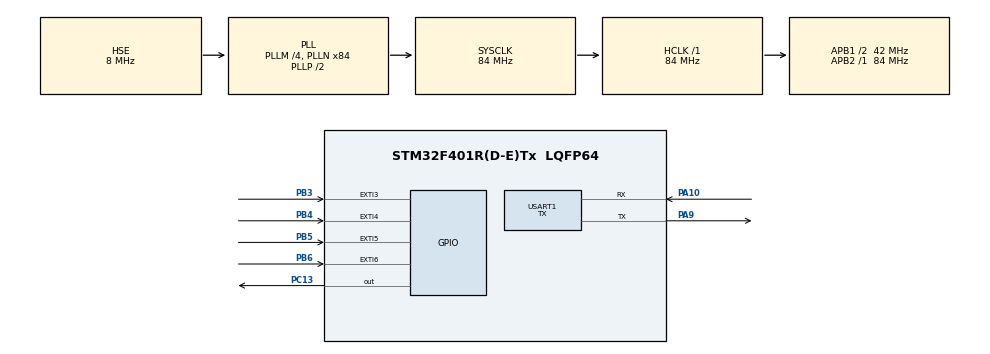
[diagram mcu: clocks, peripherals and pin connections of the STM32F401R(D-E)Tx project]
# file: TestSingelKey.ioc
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Mcu.Family=STM32F4
Mcu.Name=STM32F401R(D-E)Tx
Mcu.Package=LQFP64
NVIC.EXTI3_IRQn=true\:0\:0\:false\:false\:true\:true\:true\:true
NVIC.EXTI4_IRQn=true\:0\:0\:false\:false\:true\:true\:true\:true
NVIC.EXTI9_5_IRQn=true\:0\:0\:false\:false\:true\:true\:true\:true
NVIC.PriorityGroup=NVIC_PRIORITYGROUP_4
NVIC.TIM1_UP_TIM10_IRQn=true\:0\:0\:false\:false\:true\:true\:true\:true
PA10.Mode=Asynchronous
PA10.Signal=USART1_RX
PA9.Mode=Asynchronous
PA9.Signal=USART1_TX
PB3.GPIO_ModeDefaultEXTI=GPIO_MODE_IT_FALLING
PB3.Signal=GPXTI3
PB4.GPIO_ModeDefaultEXTI=GPIO_MODE_IT_FALLING
PB4.Signal=GPXTI4
PB5.GPIO_ModeDefaultEXTI=GPIO_MODE_IT_FALLING
PB5.Signal=GPXTI5
PB6.GPIO_ModeDefaultEXTI=GPIO_MODE_IT_FALLING
PB6.Signal=GPXTI6
PC13-ANTI_TAMP.Signal=GPIO_Output
PH0\ -\ OSC_IN.Mode=HSE-External-Oscillator
PH0\ -\ OSC_IN.Signal=RCC_OSC_IN
PH1\ -\ OSC_OUT.Mode=HSE-External-Oscillator
PH1\ -\ OSC_OUT.Signal=RCC_OSC_OUT
ProjectManager.HeapSize=0x200
ProjectManager.StackSize=0x400
ProjectManager.TargetToolchain=MDK-ARM V5.32
RCC.48MHZClocksFreq_Value=42000000
RCC.AHBFreq_Value=84000000
RCC.APB1CLKDivider=RCC_HCLK_DIV2
RCC.APB1Freq_Value=42000000
RCC.APB1TimFreq_Value=84000000
RCC.APB2Freq_Value=84000000
RCC.APB2TimFreq_Value=84000000
RCC.CortexFreq_Value=84000000
RCC.HCLKFreq_Value=84000000
RCC.HSE_VALUE=8000000
RCC.HSI_VALUE=16000000
RCC.LSE_VALUE=32768
RCC.PLLM=4
RCC.PLLN=84
RCC.PLLSourceVirtual=RCC_PLLSOURCE_HSE
RCC.SYSCLKFreq_VALUE=84000000
RCC.SYSCLKSource=RCC_SYSCLKSOURCE_PLLCLK
RCC.VCOOutputFreq_Value=168000000
TIM10.AutoReloadPreload=TIM_AUTORELOAD_PRELOAD_ENABLE
TIM10.Period=1000 - 1
TIM10.Prescaler=84 - 1
USART1.Mode=MODE_TX
USART1.VirtualMode=VM_ASYNC
VP_TIM10_VS_ClockSourceINT.Mode=Enable_Timer
board=custom

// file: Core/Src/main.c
/* USER CODE BEGIN Header */
/**
  ******************************************************************************
  * @file           : main.c
  * @brief          : Main program body
  ******************************************************************************
  * @attention
  *
  * Copyright (c) 2026 STMicroelectronics.
  * All rights reserved.
  *
  * This software is licensed under terms that can be found in the LICENSE file
  * in the root directory of this software component.
  * If no LICENSE file comes with this software, it is provided AS-IS.
  *
  ******************************************************************************
  */
/* USER CODE END Header */
#include "main.h"
#include "tim.h"
#include "usart.h"
#include "gpio.h"

/* USER CODE BEGIN Includes */
#include "zho_os.h"
#include "zho_delay.h"
#include "zho_s_key.h"
#include "zho_timer_pool.h"

#include "led.h"
#include "debug.h"
#include "user_app.h"
/* USER CODE END Includes */

void SystemClock_Config(void);

int main(void)
{

  /* MCU Configuration--------------------------------------------------------*/

  /* Reset of all peripherals, Initializes the Flash interface and the Systick. */
  HAL_Init();

  /* Configure the system clock */
  SystemClock_Config();

  /* USER CODE BEGIN SysInit */
	init_systick(SYSTICK_PSC_1);
  /* USER CODE END SysInit */

  /* Initialize all configured peripherals */
  MX_GPIO_Init();
  MX_TIM10_Init();
  MX_USART1_UART_Init();
  /* USER CODE BEGIN 2 */
	init_debug(&huart1);
	init_zho_timer_pool(&htim10);
	init_zho_s_key(GPIO_PIN_3 | GPIO_PIN_4 | GPIO_PIN_5 | GPIO_PIN_6,
			get_key_port, after_s_key_pressed);

	init_led(do_something);
	init_user_app();

	zho_os_loop();
  /* USER CODE END 2 */

  /* Infinite loop */
  while (1)
  {

  }
}

void SystemClock_Config(void)
{
  RCC_OscInitTypeDef RCC_OscInitStruct = {0};
  RCC_ClkInitTypeDef RCC_ClkInitStruct = {0};

  /** Configure the main internal regulator output voltage
  */
  __HAL_RCC_PWR_CLK_ENABLE();
  __HAL_PWR_VOLTAGESCALING_CONFIG(PWR_REGULATOR_VOLTAGE_SCALE2);

  /** Initializes the RCC Oscillators according to the specified parameters
  * in the RCC_OscInitTypeDef structure.
  */
  RCC_OscInitStruct.OscillatorType = RCC_OSCILLATORTYPE_HSE;
  RCC_OscInitStruct.HSEState = RCC_HSE_ON;
  RCC_OscInitStruct.PLL.PLLState = RCC_PLL_ON;
  RCC_OscInitStruct.PLL.PLLSource = RCC_PLLSOURCE_HSE;
  RCC_OscInitStruct.PLL.PLLM = 4;
  RCC_OscInitStruct.PLL.PLLN = 84;
  RCC_OscInitStruct.PLL.PLLP = RCC_PLLP_DIV2;
  RCC_OscInitStruct.PLL.PLLQ = 4;
  if (HAL_RCC_OscConfig(&RCC_OscInitStruct) != HAL_OK)
  {
    Error_Handler();
  }

  /** Initializes the CPU, AHB and APB buses clocks
  */
  RCC_ClkInitStruct.ClockType = RCC_CLOCKTYPE_HCLK|RCC_CLOCKTYPE_SYSCLK
                              |RCC_CLOCKTYPE_PCLK1|RCC_CLOCKTYPE_PCLK2;
  RCC_ClkInitStruct.SYSCLKSource = RCC_SYSCLKSOURCE_PLLCLK;
  RCC_ClkInitStruct.AHBCLKDivider = RCC_SYSCLK_DIV1;
  RCC_ClkInitStruct.APB1CLKDivider = RCC_HCLK_DIV2;
  RCC_ClkInitStruct.APB2CLKDivider = RCC_HCLK_DIV1;

  if (HAL_RCC_ClockConfig(&RCC_ClkInitStruct, FLASH_LATENCY_2) != HAL_OK)
  {
    Error_Handler();
  }
}

void Error_Handler(void)
{
  __disable_irq();
  while (1)
  {
  }
}
